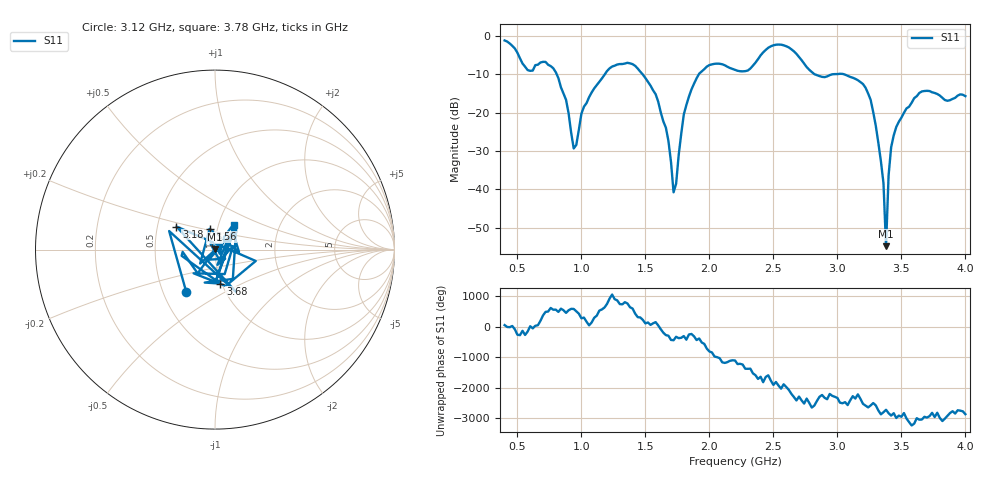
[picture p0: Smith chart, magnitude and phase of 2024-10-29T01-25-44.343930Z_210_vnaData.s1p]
!Created with skrf (http://scikit-rf.org).
# Hz S RI R 50.0
!freq ReS11 ImS11
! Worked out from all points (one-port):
!   181 points, 400 MHz to 4 GHz, reference 50 ohm
!   lowest |S11| = -54.8 dB at 3.38 GHz (marker M1), VSWR 1.00, Z = 49.8 + j0.0918 ohm
!   |S11| at or under -10 dB: 807 MHz to 1.183 GHz (376.2 MHz wide, 37.8 % of centre); 1.478 GHz to 1.917 GHz (439.5 MHz wide, 25.9 % of centre); 3.05 GHz to end of sweep (the widest 3 of 4)
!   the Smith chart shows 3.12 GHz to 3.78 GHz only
!   S11 on the Smith chart (normalised r, x): 3.12 GHz: 0.66, -0.34; 3.18 GHz: 0.63, +0.17; 3.56 GHz: 0.92, +0.22; 3.68 GHz: 0.99, -0.39; 3.78 GHz: 1.19, +0.34
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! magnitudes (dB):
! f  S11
! 400 MHz  -1.2
! 580 MHz  -8.9
! 780 MHz  -8.4
! 860 MHz  -15.0
! 940 MHz  -29.3
! 1.08 GHz  -14.7
! 1.3 GHz  -7.3
! 1.58 GHz  -15.2
! 1.68 GHz  -27.4
! 1.72 GHz  -40.7
! 1.76 GHz  -31.1
! 1.8 GHz  -20.5
! 1.92 GHz  -9.8
! 2.2 GHz  -8.8
! 2.66 GHz  -4.0
! 2.82 GHz  -10.0
! 3.1 GHz  -10.7
! 3.12 GHz  -10.9
! 3.18 GHz  -12.0
! 3.3 GHz  -23.4
! 3.36 GHz  -38.3
! 3.38 GHz  -54.8
! 3.4 GHz  -36.3
! 3.42 GHz  -29.0
! 3.56 GHz  -18.5
! 3.68 GHz  -14.4
! 3.78 GHz  -15.1
! 4 GHz  -15.7
